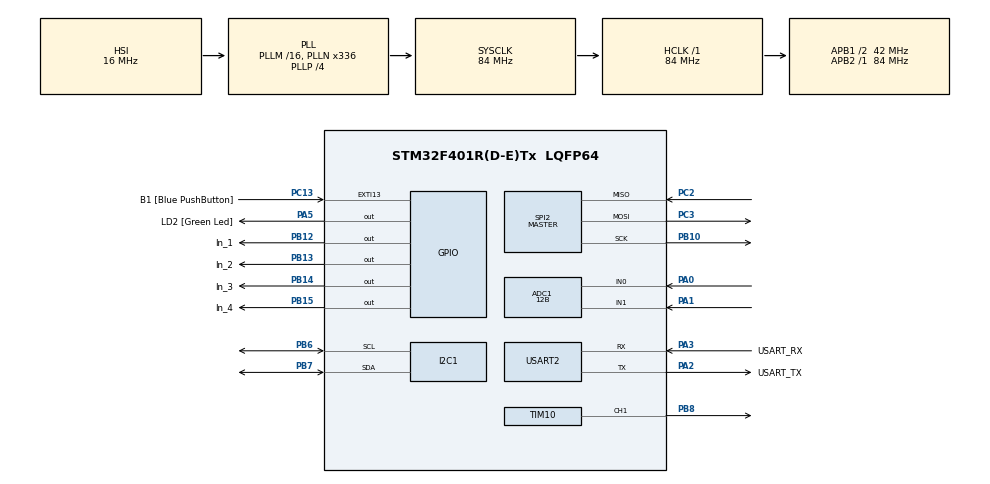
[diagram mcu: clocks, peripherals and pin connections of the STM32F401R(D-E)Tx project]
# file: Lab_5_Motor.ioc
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ADC1.Channel-0\#ChannelRegularConversion=ADC_CHANNEL_0
ADC1.Channel-1\#ChannelRegularConversion=ADC_CHANNEL_1
ADC1.ClockPrescaler=ADC_CLOCK_SYNC_PCLK_DIV8
ADC1.ContinuousConvMode=DISABLE
ADC1.DMAContinuousRequests=DISABLE
ADC1.DataAlign=ADC_DATAALIGN_RIGHT
ADC1.DiscontinuousConvMode=DISABLE
ADC1.EOCSelection=ADC_EOC_SINGLE_CONV
ADC1.EnableAnalogWatchDog=false
ADC1.ExternalTrigConv=ADC_SOFTWARE_START
ADC1.ExternalTrigConvEdge=ADC_EXTERNALTRIGCONVEDGE_NONE
ADC1.InjNumberOfConversion=0
ADC1.NbrOfConversion=2
ADC1.NbrOfConversionFlag=1
ADC1.Rank-0\#ChannelRegularConversion=1
ADC1.Rank-1\#ChannelRegularConversion=2
ADC1.Resolution=ADC_RESOLUTION_12B
ADC1.SamplingTime-0\#ChannelRegularConversion=ADC_SAMPLETIME_480CYCLES
ADC1.SamplingTime-1\#ChannelRegularConversion=ADC_SAMPLETIME_480CYCLES
ADC1.ScanConvMode=ENABLE
ADC1.master=1
Mcu.Family=STM32F4
Mcu.Name=STM32F401R(D-E)Tx
Mcu.Package=LQFP64
NVIC.PriorityGroup=NVIC_PRIORITYGROUP_0
PA0-WKUP.Signal=ADCx_IN0
PA1.Signal=ADCx_IN1
PA13.GPIO_Label=TMS
PA13.Mode=Serial_Wire
PA13.Signal=SYS_JTMS-SWDIO
PA14.GPIO_Label=TCK
PA14.Mode=Serial_Wire
PA14.Signal=SYS_JTCK-SWCLK
PA2.GPIO_Label=USART_TX
PA2.GPIO_Mode=GPIO_MODE_AF_PP
PA2.GPIO_PuPd=GPIO_NOPULL
PA2.GPIO_Speed=GPIO_SPEED_FREQ_LOW
PA2.Mode=Asynchronous
PA2.Signal=USART2_TX
PA3.GPIO_Label=USART_RX
PA3.GPIO_Mode=GPIO_MODE_AF_PP
PA3.GPIO_PuPd=GPIO_NOPULL
PA3.GPIO_Speed=GPIO_SPEED_FREQ_LOW
PA3.Mode=Asynchronous
PA3.Signal=USART2_RX
PA5.GPIO_Label=LD2 [Green Led]
PA5.GPIO_Mode=GPIO_MODE_OUTPUT_PP
PA5.GPIO_PuPd=GPIO_NOPULL
PA5.GPIO_Speed=GPIO_SPEED_FREQ_LOW
PA5.Signal=GPIO_Output
PB10.Mode=Full_Duplex_Master
PB10.Signal=SPI2_SCK
PB12.GPIO_Label=In_1
PB12.Signal=GPIO_Output
PB13.GPIO_Label=In_2
PB13.Signal=GPIO_Output
PB14.GPIO_Label=In_3
PB14.Signal=GPIO_Output
PB15.GPIO_Label=In_4
PB15.Signal=GPIO_Output
PB3.GPIO_Label=SWO
PB3.Signal=SYS_JTDO-SWO
PB6.Mode=I2C
PB6.Signal=I2C1_SCL
PB7.Mode=I2C
PB7.Signal=I2C1_SDA
PB8.Signal=S_TIM10_CH1
PC13-ANTI_TAMP.GPIO_Label=B1 [Blue PushButton]
PC13-ANTI_TAMP.GPIO_ModeDefaultEXTI=GPIO_MODE_IT_FALLING
PC13-ANTI_TAMP.GPIO_PuPd=GPIO_NOPULL
PC13-ANTI_TAMP.Signal=GPXTI13
PC14-OSC32_IN.Mode=LSE-External-Oscillator
PC14-OSC32_IN.Signal=RCC_OSC32_IN
PC15-OSC32_OUT.Mode=LSE-External-Oscillator
PC15-OSC32_OUT.Signal=RCC_OSC32_OUT
PC2.Mode=Full_Duplex_Master
PC2.Signal=SPI2_MISO
PC3.Mode=Full_Duplex_Master
PC3.Signal=SPI2_MOSI
PH0\ -\ OSC_IN.Mode=HSE-External-Clock-Source
PH0\ -\ OSC_IN.Signal=RCC_OSC_IN
PH1\ -\ OSC_OUT.Mode=HSE-External-Clock-Source
PH1\ -\ OSC_OUT.Signal=RCC_OSC_OUT
ProjectManager.HeapSize=0x200
ProjectManager.StackSize=0x400
ProjectManager.TargetToolchain=TrueSTUDIO
RCC.48MHZClocksFreq_Value=48000000
RCC.AHBFreq_Value=84000000
RCC.APB1CLKDivider=RCC_HCLK_DIV2
RCC.APB1Freq_Value=42000000
RCC.APB1TimFreq_Value=84000000
RCC.APB2Freq_Value=84000000
RCC.APB2TimFreq_Value=84000000
RCC.CortexFreq_Value=84000000
RCC.HCLKFreq_Value=84000000
RCC.HSE_VALUE=8000000
RCC.HSI_VALUE=16000000
RCC.PLLN=336
RCC.PLLP=RCC_PLLP_DIV4
RCC.PLLQ=7
RCC.SYSCLKFreq_VALUE=84000000
RCC.SYSCLKSource=RCC_SYSCLKSOURCE_PLLCLK
RCC.VCOOutputFreq_Value=336000000
SH.ADCx_IN0.0=ADC1_IN0,IN0
SH.ADCx_IN1.0=ADC1_IN1,IN1
SH.S_TIM10_CH1.0=TIM10_CH1,PWM Generation1 CH1
SPI2.Direction=SPI_DIRECTION_2LINES
SPI2.Mode=SPI_MODE_MASTER
SPI2.VirtualType=VM_MASTER
TIM10.Channel=TIM_CHANNEL_1
TIM10.Period=64615
TIM10.Prescaler=25
TIM10.Pulse=4846
USART2.VirtualMode=VM_ASYNC
VP_TIM10_VS_ClockSourceINT.Mode=Enable_Timer
board=NUCLEO-F401RE

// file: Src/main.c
/**
  ******************************************************************************
  * @file           : main.c
  * @brief          : Main program body
  ******************************************************************************
  ** This notice applies to any and all portions of this file
  * that are not between comment pairs USER CODE BEGIN and
  * USER CODE END. Other portions of this file, whether
  * inserted by the user or by software development tools
  * are owned by their respective copyright owners.
  *
  * COPYRIGHT(c) 2018 STMicroelectronics
  *
  * Redistribution and use in source and binary forms, with or without modification,
  * are permitted provided that the following conditions are met:
  *   1. Redistributions of source code must retain the above copyright notice,
  *      this list of conditions and the following disclaimer.
  *   2. Redistributions in binary form must reproduce the above copyright notice,
  *      this list of conditions and the following disclaimer in the documentation
  *      and/or other materials provided with the distribution.
  *   3. Neither the name of STMicroelectronics nor the names of its contributors
  *      may be used to endorse or promote products derived from this software
  *      without specific prior written permission.
  *
  * THIS SOFTWARE IS PROVIDED BY THE COPYRIGHT HOLDERS AND CONTRIBUTORS "AS IS"
  * AND ANY EXPRESS OR IMPLIED WARRANTIES, INCLUDING, BUT NOT LIMITED TO, THE
  * IMPLIED WARRANTIES OF MERCHANTABILITY AND FITNESS FOR A PARTICULAR PURPOSE ARE
  * DISCLAIMED. IN NO EVENT SHALL THE COPYRIGHT HOLDER OR CONTRIBUTORS BE LIABLE
  * FOR ANY DIRECT, INDIRECT, INCIDENTAL, SPECIAL, EXEMPLARY, OR CONSEQUENTIAL
  * DAMAGES (INCLUDING, BUT NOT LIMITED TO, PROCUREMENT OF SUBSTITUTE GOODS OR
  * SERVICES; LOSS OF USE, DATA, OR PROFITS; OR BUSINESS INTERRUPTION) HOWEVER
  * CAUSED AND ON ANY THEORY OF LIABILITY, WHETHER IN CONTRACT, STRICT LIABILITY,
  * OR TORT (INCLUDING NEGLIGENCE OR OTHERWISE) ARISING IN ANY WAY OUT OF THE USE
  * OF THIS SOFTWARE, EVEN IF ADVISED OF THE POSSIBILITY OF SUCH DAMAGE.
  *
  ******************************************************************************
  */
#include "main.h"
#include "stm32f4xx_hal.h"

/* USER CODE BEGIN Includes */
#define ARRSIZE 32
/* USER CODE END Includes */

ADC_HandleTypeDef hadc1;

I2C_HandleTypeDef hi2c1;

SPI_HandleTypeDef hspi2;

TIM_HandleTypeDef htim10;

UART_HandleTypeDef huart2;

/* USER CODE BEGIN PV */
/* Private variables ---------------------------------------------------------*/

/* USER CODE END PV */

void SystemClock_Config(void);
static void MX_GPIO_Init(void);
static void MX_ADC1_Init(void);
static void MX_I2C1_Init(void);
static void MX_SPI2_Init(void);
static void MX_TIM10_Init(void);
static void MX_USART2_UART_Init(void);

void HAL_TIM_MspPostInit(TIM_HandleTypeDef *htim);

/* USER CODE BEGIN PFP */
/* Private function prototypes -----------------------------------------------*/

void ADC_Conversion(void);
void valueConversionToPWM(void);
void setStepperState(uint8_t step, uint8_t dir);
void directionStepper(int8_t dir);
/* USER CODE END PFP */

/* USER CODE BEGIN 0 */
uint16_t str[ARRSIZE];
uint16_t channel_1 = 0;
uint16_t channel_2 = 0;
uint16_t maxADCvalue = 4096;
uint8_t stepperValue = 0;

//float ch_x_converted_PWM = 0;
//float ch_y_converted_PWM = 0;
float countsPer_ms = 64616.0/20.0;
/* USER CODE END 0 */

int main(void)
{

  /* MCU Configuration----------------------------------------------------------*/

  /* Reset of all peripherals, Initializes the Flash interface and the Systick. */
  HAL_Init();

  /* Configure the system clock */
  SystemClock_Config();

  /* Initialize all configured peripherals */
  MX_GPIO_Init();
  /* USER CODE BEGIN 2 */
	MX_ADC1_Init();
	MX_I2C1_Init();
	MX_SPI2_Init();
	MX_TIM10_Init();
	MX_USART2_UART_Init();

	HAL_TIM_Base_Start(&htim10);
	HAL_TIM_PWM_Start(&htim10,TIM_CHANNEL_1);
  /* USER CODE END 2 */

  /* Infinite loop */
	while (1) {

  /* USER CODE BEGIN 3 */
		ADC_Conversion();
		setPWMValue();

		uint32_t direction = channel_1/512;

		if(direction == 3 || direction == 4)
			directionStepper(0);
		else if(direction > 4)
			directionStepper(1);
		else if(direction < 3)
			directionStepper(-1);

		//setStepperState(channel_1/512);
//		uint8_t var;
//		for (var = 1; var < 9; ++var) {
//			setStepperState(var);
//			HAL_Delay(10);
//		}

		sprintf(str, "Joystick: x:%d | y:%d\n\r", channel_1, channel_2);
		HAL_UART_Transmit(&huart2, str, strlen(str), 1000);

		sprintf(str, "Stepper:%d\n\r", direction);
		HAL_UART_Transmit(&huart2, str, strlen(str), 1000);

		//sprintf(str, "PWM: x:%d | y:%d\n\r", (int)ch_x_converted_PWM, (int)ch_y_converted_PWM);
		//HAL_UART_Transmit(&huart2, str, strlen(str), 1000);

		HAL_Delay(1);
	}
  /* USER CODE END 3 */

}

void SystemClock_Config(void)
{

  RCC_OscInitTypeDef RCC_OscInitStruct;
  RCC_ClkInitTypeDef RCC_ClkInitStruct;

    /**Configure the main internal regulator output voltage
    */
  __HAL_RCC_PWR_CLK_ENABLE();

  __HAL_PWR_VOLTAGESCALING_CONFIG(PWR_REGULATOR_VOLTAGE_SCALE2);

    /**Initializes the CPU, AHB and APB busses clocks
    */
  RCC_OscInitStruct.OscillatorType = RCC_OSCILLATORTYPE_HSI;
  RCC_OscInitStruct.HSIState = RCC_HSI_ON;
  RCC_OscInitStruct.HSICalibrationValue = 16;
  RCC_OscInitStruct.PLL.PLLState = RCC_PLL_ON;
  RCC_OscInitStruct.PLL.PLLSource = RCC_PLLSOURCE_HSI;
  RCC_OscInitStruct.PLL.PLLM = 16;
  RCC_OscInitStruct.PLL.PLLN = 336;
  RCC_OscInitStruct.PLL.PLLP = RCC_PLLP_DIV4;
  RCC_OscInitStruct.PLL.PLLQ = 7;
  if (HAL_RCC_OscConfig(&RCC_OscInitStruct) != HAL_OK)
  {
    _Error_Handler(__FILE__, __LINE__);
  }

    /**Initializes the CPU, AHB and APB busses clocks
    */
  RCC_ClkInitStruct.ClockType = RCC_CLOCKTYPE_HCLK|RCC_CLOCKTYPE_SYSCLK
                              |RCC_CLOCKTYPE_PCLK1|RCC_CLOCKTYPE_PCLK2;
  RCC_ClkInitStruct.SYSCLKSource = RCC_SYSCLKSOURCE_PLLCLK;
  RCC_ClkInitStruct.AHBCLKDivider = RCC_SYSCLK_DIV1;
  RCC_ClkInitStruct.APB1CLKDivider = RCC_HCLK_DIV2;
  RCC_ClkInitStruct.APB2CLKDivider = RCC_HCLK_DIV1;

  if (HAL_RCC_ClockConfig(&RCC_ClkInitStruct, FLASH_LATENCY_2) != HAL_OK)
  {
    _Error_Handler(__FILE__, __LINE__);
  }

    /**Configure the Systick interrupt time
    */
  HAL_SYSTICK_Config(HAL_RCC_GetHCLKFreq()/1000);

    /**Configure the Systick
    */
  HAL_SYSTICK_CLKSourceConfig(SYSTICK_CLKSOURCE_HCLK);

  /* SysTick_IRQn interrupt configuration */
  HAL_NVIC_SetPriority(SysTick_IRQn, 0, 0);
}

/* ADC1 init function */
static void MX_ADC1_Init(void)
{

  ADC_ChannelConfTypeDef sConfig;

    /**Configure the global features of the ADC (Clock, Resolution, Data Alignment and number of conversion)
    */
  hadc1.Instance = ADC1;
  hadc1.Init.ClockPrescaler = ADC_CLOCK_SYNC_PCLK_DIV8;
  hadc1.Init.Resolution = ADC_RESOLUTION_12B;
  hadc1.Init.ScanConvMode = ENABLE;
  hadc1.Init.ContinuousConvMode = DISABLE;
  hadc1.Init.DiscontinuousConvMode = DISABLE;
  hadc1.Init.ExternalTrigConvEdge = ADC_EXTERNALTRIGCONVEDGE_NONE;
  hadc1.Init.ExternalTrigConv = ADC_SOFTWARE_START;
  hadc1.Init.DataAlign = ADC_DATAALIGN_RIGHT;
  hadc1.Init.NbrOfConversion = 2;
  hadc1.Init.DMAContinuousRequests = DISABLE;
  hadc1.Init.EOCSelection = ADC_EOC_SINGLE_CONV;
  if (HAL_ADC_Init(&hadc1) != HAL_OK)
  {
    _Error_Handler(__FILE__, __LINE__);
  }

    /**Configure for the selected ADC regular channel its corresponding rank in the sequencer and its sample time.
    */
  sConfig.Channel = ADC_CHANNEL_0;
  sConfig.Rank = 1;
  sConfig.SamplingTime = ADC_SAMPLETIME_480CYCLES;
  if (HAL_ADC_ConfigChannel(&hadc1, &sConfig) != HAL_OK)
  {
    _Error_Handler(__FILE__, __LINE__);
  }

    /**Configure for the selected ADC regular channel its corresponding rank in the sequencer and its sample time.
    */
  sConfig.Channel = ADC_CHANNEL_1;
  sConfig.Rank = 2;
  if (HAL_ADC_ConfigChannel(&hadc1, &sConfig) != HAL_OK)
  {
    _Error_Handler(__FILE__, __LINE__);
  }

}

/* I2C1 init function */
static void MX_I2C1_Init(void)
{

  hi2c1.Instance = I2C1;
  hi2c1.Init.ClockSpeed = 100000;
  hi2c1.Init.DutyCycle = I2C_DUTYCYCLE_2;
  hi2c1.Init.OwnAddress1 = 0;
  hi2c1.Init.AddressingMode = I2C_ADDRESSINGMODE_7BIT;
  hi2c1.Init.DualAddressMode = I2C_DUALADDRESS_DISABLE;
  hi2c1.Init.OwnAddress2 = 0;
  hi2c1.Init.GeneralCallMode = I2C_GENERALCALL_DISABLE;
  hi2c1.Init.NoStretchMode = I2C_NOSTRETCH_DISABLE;
  if (HAL_I2C_Init(&hi2c1) != HAL_OK)
  {
    _Error_Handler(__FILE__, __LINE__);
  }

}

/* SPI2 init function */
static void MX_SPI2_Init(void)
{

  /* SPI2 parameter configuration*/
  hspi2.Instance = SPI2;
  hspi2.Init.Mode = SPI_MODE_MASTER;
  hspi2.Init.Direction = SPI_DIRECTION_2LINES;
  hspi2.Init.DataSize = SPI_DATASIZE_8BIT;
  hspi2.Init.CLKPolarity = SPI_POLARITY_LOW;
  hspi2.Init.CLKPhase = SPI_PHASE_1EDGE;
  hspi2.Init.NSS = SPI_NSS_SOFT;
  hspi2.Init.BaudRatePrescaler = SPI_BAUDRATEPRESCALER_2;
  hspi2.Init.FirstBit = SPI_FIRSTBIT_MSB;
  hspi2.Init.TIMode = SPI_TIMODE_DISABLE;
  hspi2.Init.CRCCalculation = SPI_CRCCALCULATION_DISABLE;
  hspi2.Init.CRCPolynomial = 10;
  if (HAL_SPI_Init(&hspi2) != HAL_OK)
  {
    _Error_Handler(__FILE__, __LINE__);
  }

}

/* TIM10 init function */
static void MX_TIM10_Init(void)
{

  TIM_OC_InitTypeDef sConfigOC;

  htim10.Instance = TIM10;
  htim10.Init.Prescaler = 25;
  htim10.Init.CounterMode = TIM_COUNTERMODE_UP;
  htim10.Init.Period = 64615;
  htim10.Init.ClockDivision = TIM_CLOCKDIVISION_DIV1;
  if (HAL_TIM_Base_Init(&htim10) != HAL_OK)
  {
    _Error_Handler(__FILE__, __LINE__);
  }

  if (HAL_TIM_PWM_Init(&htim10) != HAL_OK)
  {
    _Error_Handler(__FILE__, __LINE__);
  }

  sConfigOC.OCMode = TIM_OCMODE_PWM1;
  sConfigOC.Pulse = 4846;
  sConfigOC.OCPolarity = TIM_OCPOLARITY_HIGH;
  sConfigOC.OCFastMode = TIM_OCFAST_DISABLE;
  if (HAL_TIM_PWM_ConfigChannel(&htim10, &sConfigOC, TIM_CHANNEL_1) != HAL_OK)
  {
    _Error_Handler(__FILE__, __LINE__);
  }

  HAL_TIM_MspPostInit(&htim10);

}

/* USART2 init function */
static void MX_USART2_UART_Init(void)
{

  huart2.Instance = USART2;
  huart2.Init.BaudRate = 115200;
  huart2.Init.WordLength = UART_WORDLENGTH_8B;
  huart2.Init.StopBits = UART_STOPBITS_1;
  huart2.Init.Parity = UART_PARITY_NONE;
  huart2.Init.Mode = UART_MODE_TX_RX;
  huart2.Init.HwFlowCtl = UART_HWCONTROL_NONE;
  huart2.Init.OverSampling = UART_OVERSAMPLING_16;
  if (HAL_UART_Init(&huart2) != HAL_OK)
  {
    _Error_Handler(__FILE__, __LINE__);
  }

}

/** Configure pins as
        * Analog
        * Input
        * Output
        * EVENT_OUT
        * EXTI
*/
static void MX_GPIO_Init(void)
{

  GPIO_InitTypeDef GPIO_InitStruct;

  /* GPIO Ports Clock Enable */
  __HAL_RCC_GPIOC_CLK_ENABLE();
  __HAL_RCC_GPIOH_CLK_ENABLE();
  __HAL_RCC_GPIOA_CLK_ENABLE();
  __HAL_RCC_GPIOB_CLK_ENABLE();

  /*Configure GPIO pin Output Level */
  HAL_GPIO_WritePin(LD2_GPIO_Port, LD2_Pin, GPIO_PIN_RESET);

  /*Configure GPIO pin Output Level */
  HAL_GPIO_WritePin(GPIOB, In_1_Pin|In_2_Pin|In_3_Pin|In_4_Pin, GPIO_PIN_RESET);

  /*Configure GPIO pin : B1_Pin */
  GPIO_InitStruct.Pin = B1_Pin;
  GPIO_InitStruct.Mode = GPIO_MODE_IT_FALLING;
  GPIO_InitStruct.Pull = GPIO_NOPULL;
  HAL_GPIO_Init(B1_GPIO_Port, &GPIO_InitStruct);

  /*Configure GPIO pin : LD2_Pin */
  GPIO_InitStruct.Pin = LD2_Pin;
  GPIO_InitStruct.Mode = GPIO_MODE_OUTPUT_PP;
  GPIO_InitStruct.Pull = GPIO_NOPULL;
  GPIO_InitStruct.Speed = GPIO_SPEED_FREQ_LOW;
  HAL_GPIO_Init(LD2_GPIO_Port, &GPIO_InitStruct);

  /*Configure GPIO pins : In_1_Pin In_2_Pin In_3_Pin In_4_Pin */
  GPIO_InitStruct.Pin = In_1_Pin|In_2_Pin|In_3_Pin|In_4_Pin;
  GPIO_InitStruct.Mode = GPIO_MODE_OUTPUT_PP;
  GPIO_InitStruct.Pull = GPIO_NOPULL;
  GPIO_InitStruct.Speed = GPIO_SPEED_FREQ_LOW;
  HAL_GPIO_Init(GPIOB, &GPIO_InitStruct);

}

/* USER CODE BEGIN 4 */
void ADC_Conversion(void) {
	HAL_ADC_Start(&hadc1);
	if (HAL_ADC_PollForConversion(&hadc1, HAL_MAX_DELAY) == HAL_OK) {
		channel_1 = HAL_ADC_GetValue(&hadc1);
		if (HAL_ADC_PollForConversion(&hadc1, HAL_MAX_DELAY) == HAL_OK) {
			channel_2 = HAL_ADC_GetValue(&hadc1);
		}
	}
	HAL_ADC_Stop(&hadc1);
}

void setPWMValue(void){
	float divBy = (maxADCvalue/2.0);
	//float ch_x_converted_PWM = (channel_1/divBy)+0.5;
	float ch_y_converted_PWM = (channel_2/divBy)+0.5;
	float PWMValue = ch_y_converted_PWM*countsPer_ms;
	__HAL_TIM_SET_COMPARE(&htim10, TIM_CHANNEL_1, PWMValue);
}

//takes value between 1-8
void setStepperState(uint8_t step, uint8_t dir){
	HAL_GPIO_WritePin(GPIOB, In_1_Pin | In_2_Pin | In_3_Pin | In_4_Pin, 0);
	//bakеt
	if(dir == 0){
		switch (step) {
			case 0: HAL_GPIO_WritePin(GPIOB, In_4_Pin, 1);	break;
			case 1: HAL_GPIO_WritePin(GPIOB, In_3_Pin | In_4_Pin, 1);	break;
			case 2: HAL_GPIO_WritePin(GPIOB, In_3_Pin, 1);	break;
			case 3: HAL_GPIO_WritePin(GPIOB, In_2_Pin | In_3_Pin, 1);	break;
			case 4: HAL_GPIO_WritePin(GPIOB, In_2_Pin, 1);	break;
			case 5: HAL_GPIO_WritePin(GPIOB, In_1_Pin | In_2_Pin, 1);	break;
			case 6: HAL_GPIO_WritePin(GPIOB, In_1_Pin, 1);	break;
			case 7: HAL_GPIO_WritePin(GPIOB, In_1_Pin | In_4_Pin, 1);	break;
			default:
				break;
		}
	}else{	//framеt
		switch (step) {
			case 7: HAL_GPIO_WritePin(GPIOB, In_4_Pin, 1);	break;
			case 6: HAL_GPIO_WritePin(GPIOB, In_3_Pin | In_4_Pin, 1);	break;
			case 5: HAL_GPIO_WritePin(GPIOB, In_3_Pin, 1);	break;
			case 4: HAL_GPIO_WritePin(GPIOB, In_2_Pin | In_3_Pin, 1);	break;
			case 3: HAL_GPIO_WritePin(GPIOB, In_2_Pin, 1);	break;
			case 2: HAL_GPIO_WritePin(GPIOB, In_1_Pin | In_2_Pin, 1);	break;
			case 1: HAL_GPIO_WritePin(GPIOB, In_1_Pin, 1);	break;
			case 0: HAL_GPIO_WritePin(GPIOB, In_1_Pin | In_4_Pin, 1);	break;
			default:
				break;
		}
	}

}

void directionStepper(int8_t dir){
	if(dir == 1){
		stepperValue = (stepperValue + 1) % 8;
		setStepperState(stepperValue, 1);
	}else if(dir == -1){
		stepperValue =(stepperValue + 1) % 8;
		setStepperState(stepperValue, 0);
	}
}

/* USER CODE END 4 */

void _Error_Handler(char *file, int line)
{
	while (1) {
	}
}

/************************ (C) COPYRIGHT STMicroelectronics *****END OF FILE****/
